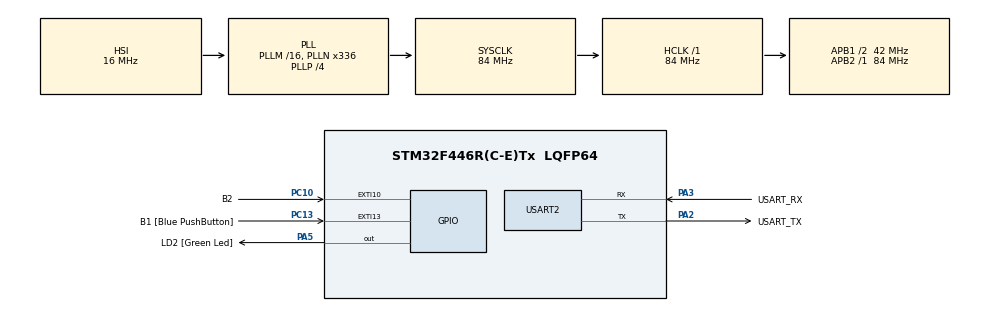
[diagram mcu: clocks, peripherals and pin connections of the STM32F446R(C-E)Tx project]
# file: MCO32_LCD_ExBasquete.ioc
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Mcu.Family=STM32F4
Mcu.Name=STM32F446R(C-E)Tx
Mcu.Package=LQFP64
NVIC.EXTI15_10_IRQn=true\:0\:0\:false\:false\:true\:true\:true\:true
NVIC.PriorityGroup=NVIC_PRIORITYGROUP_0
PA13.GPIO_Label=TMS
PA13.Mode=Serial_Wire
PA13.Signal=SYS_JTMS-SWDIO
PA14.GPIO_Label=TCK
PA14.Mode=Serial_Wire
PA14.Signal=SYS_JTCK-SWCLK
PA2.GPIO_Label=USART_TX
PA2.Mode=Asynchronous
PA2.Signal=USART2_TX
PA3.GPIO_Label=USART_RX
PA3.Mode=Asynchronous
PA3.Signal=USART2_RX
PA5.GPIO_Label=LD2 [Green Led]
PA5.Signal=GPIO_Output
PB3.GPIO_Label=SWO
PB3.Signal=SYS_JTDO-SWO
PC10.GPIO_Label=B2
PC10.GPIO_PuPd=GPIO_PULLUP
PC10.Signal=GPXTI10
PC13.GPIO_Label=B1 [Blue PushButton]
PC13.GPIO_ModeDefaultEXTI=GPIO_MODE_IT_FALLING
PC13.Signal=GPXTI13
PC14-OSC32_IN.Mode=LSE-External-Oscillator
PC14-OSC32_IN.Signal=RCC_OSC32_IN
PC15-OSC32_OUT.Mode=LSE-External-Oscillator
PC15-OSC32_OUT.Signal=RCC_OSC32_OUT
PH0-OSC_IN.Mode=HSE-External-Oscillator
PH0-OSC_IN.Signal=RCC_OSC_IN
PH1-OSC_OUT.Mode=HSE-External-Oscillator
PH1-OSC_OUT.Signal=RCC_OSC_OUT
ProjectManager.HeapSize=0x200
ProjectManager.StackSize=0x400
ProjectManager.TargetToolchain=STM32CubeIDE
RCC.48MHZClocksFreq_Value=84000000
RCC.AHBFreq_Value=84000000
RCC.APB1CLKDivider=RCC_HCLK_DIV2
RCC.APB1Freq_Value=42000000
RCC.APB1TimFreq_Value=84000000
RCC.APB2Freq_Value=84000000
RCC.APB2TimFreq_Value=84000000
RCC.CortexFreq_Value=84000000
RCC.FLatency-AdvancedSettings=FLASH_LATENCY_2
RCC.HCLKFreq_Value=84000000
RCC.HSE_VALUE=8000000
RCC.HSI_VALUE=16000000
RCC.PLLN=336
RCC.PLLP=RCC_PLLP_DIV4
RCC.SYSCLKFreq_VALUE=84000000
RCC.SYSCLKSource=RCC_SYSCLKSOURCE_PLLCLK
RCC.USBFreq_Value=168000000
RCC.VCOOutputFreq_Value=336000000
TIM1.AutoReloadPreload=TIM_AUTORELOAD_PRELOAD_ENABLE
TIM1.Period=0xFFFF-1
TIM1.Prescaler=84-1
USART2.VirtualMode=VM_ASYNC
VP_TIM1_VS_ClockSourceINT.Mode=Internal
board=NUCLEO-F446RE

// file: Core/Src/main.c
/* USER CODE BEGIN Header */
/**
  ******************************************************************************
  * @file           : main.c
  * @brief          : Main program body
  ******************************************************************************
  * @attention
  *
  * Copyright (c) 2022 STMicroelectronics.
  * All rights reserved.
  *
  * This software is licensed under terms that can be found in the LICENSE file
  * in the root directory of this software component.
  * If no LICENSE file comes with this software, it is provided AS-IS.
  *
  ******************************************************************************
  */
/* USER CODE END Header */
#include "main.h"

/* USER CODE BEGIN Includes */
#include "fonts.h"
#include "tft.h"
#include "user_setting.h"
#include "functions.h"
#include "stdio.h"
#include <math.h>
/* USER CODE END Includes */

/* USER CODE BEGIN PD */
#define SCREEN_ORIENTATION 1 //0: Retrato | 1: Paisagem
#define SCREEN_BG BLACK //Cor de fundo

/* Mais cores (em RGB 565) */
#define GREY 0xC618
#define ORANGE 0xF9E0
#define PURPLE 0x68FF

/* USER CODE END PD */

TIM_HandleTypeDef htim1;

UART_HandleTypeDef huart2;

void SystemClock_Config(void);
static void MX_GPIO_Init(void);
static void MX_USART2_UART_Init(void);
static void MX_TIM1_Init(void);
/* USER CODE BEGIN PFP */
void setScreenSettings(void);
void drawScenery(void);
/* USER CODE END PFP */

/* USER CODE BEGIN 0 */
uint8_t b2Flag = 0;
uint32_t deb = 0;
uint32_t dbgx = 0, dbgy = 0;
/* USER CODE END 0 */

int main(void)
{

  /* MCU Configuration--------------------------------------------------------*/

  /* Reset of all peripherals, Initializes the Flash interface and the Systick. */
  HAL_Init();

  /* Configure the system clock */
  SystemClock_Config();

  /* Initialize all configured peripherals */
  MX_GPIO_Init();
  MX_USART2_UART_Init();
  MX_TIM1_Init();
  /* USER CODE BEGIN 2 */
  setScreenSettings();

  //Ângulos: 0, 15, 30, 45, 60, 75, 90
  int16_t angles[7][2] = {{250, 230}, {252, 216}, {257, 203}, {266, 191}, {278, 182}, {291, 177}, {305, 175}};
  uint8_t st = 0; //Etapa
  int16_t xball = 305, yball = 220; //Posição da bola
  int16_t spd = 0, ang = 0, xspd = 0, yspd = 0; //Parâmetros
  char cspd[50]; //String para debug

  /* USER CODE END 2 */

  /* Infinite loop */
  /* USER CODE BEGIN WHILE */
  while (1)
  {
	  switch(st)
	  {
	  	  case 0: //Início
	  		  drawScenery(); //Desenha o cenário
	  		  xball = 305;
	  		  yball = 220;
	  		  fillCircle(xball, yball, 10, ORANGE); //Desenha bola no canto
	  		  st = 1;
	  		  break;

	  	  case 1: //Selecionar ângulo (0 a 90 graus)
	  		  ang = -15;
	  		  for(uint16_t i = 0; i < 7; i++)
	  		  {
	  			  ang += 15;
	  			  drawLine(305, 230, angles[i][0], angles[i][1], RED); //Desenha
	  			  HAL_Delay(250);
	  			  drawLine(305, 230, angles[i][0], angles[i][1], SCREEN_BG); //Apaga

	  			  if(b2Flag) //Se o botão for pressionado
	  			  {
	  				  drawLine(305, 230, angles[i][0], angles[i][1], RED); //Re-desenha
	  				  i = 8; //Sai do loop
	  				  st = 2;
	  				  b2Flag = 0;
	  				  sprintf(cspd, "ang = %d\r\n", ang);
	  				  HAL_UART_Transmit(&huart2, (uint8_t *)&cspd, 10, 100);
	  			  }
	  		  }
	  		  break;

	  	  case 2: //Selecionar velocidade de arremeço (0 a 140)
	  		  spd = -1;
	  		  fillRect(20, 17, 280, 11, SCREEN_BG); //Apaga toda a barra

	  		  for(uint16_t i = 0; i < 140; i++) //barra com 280px = 140 intensidades possíveis
	  		  {
	  			  spd++;
	  			  fillRect(20+(2*spd), 17, 2, 11, YELLOW); //Desenha
	  			  HAL_Delay(50);

	  			  if(b2Flag) //Se o botão for pressionado
	  			  {
	  				  i = 280; //Sai do loop
	  				  st = 3;
	  				  b2Flag = 0;
	  				  sprintf(cspd, "spd = %d\r\n", spd);
	  				  HAL_UART_Transmit(&huart2, (uint8_t *)&cspd, 10, 100);
	  			  }
	  		  }
	  		  break;

	  	  case 3: //Decompõe a velocidade em x e y de acordo com o ângulo
	  		  xspd = (int16_t)(cos((ang*M_PI)/180)*(spd));
	  		  yspd = (int16_t)(sin((ang*M_PI)/180)*(spd));

	  		  dbgx = xspd;
	  		  dbgy = yspd;

	  		  st = 4;

	  		  break;

	  	  case 4: //Movimenta bola

	  		  while(xball < 319 && yball < 239)
	  		  {
	  			  fillCircle(xball, yball, 10, SCREEN_BG); //Apaga
	  			  xball -= xspd;
	  			  yball -= yspd;
	  			  fillCircle(xball, yball, 10, ORANGE); //Desenha
	  			  HAL_Delay(100);
	  			  yspd -= 5; //"gravidade"
	  		  }
	  		  fillCircle(xball, yball, 10, SCREEN_BG); //Apaga
	  		  st = 0;
	  		  break;
	  }

    /* USER CODE END WHILE */

  }
}

void SystemClock_Config(void)
{
  RCC_OscInitTypeDef RCC_OscInitStruct = {0};
  RCC_ClkInitTypeDef RCC_ClkInitStruct = {0};

  /** Configure the main internal regulator output voltage
  */
  __HAL_RCC_PWR_CLK_ENABLE();
  __HAL_PWR_VOLTAGESCALING_CONFIG(PWR_REGULATOR_VOLTAGE_SCALE3);

  /** Initializes the RCC Oscillators according to the specified parameters
  * in the RCC_OscInitTypeDef structure.
  */
  RCC_OscInitStruct.OscillatorType = RCC_OSCILLATORTYPE_HSI;
  RCC_OscInitStruct.HSIState = RCC_HSI_ON;
  RCC_OscInitStruct.HSICalibrationValue = RCC_HSICALIBRATION_DEFAULT;
  RCC_OscInitStruct.PLL.PLLState = RCC_PLL_ON;
  RCC_OscInitStruct.PLL.PLLSource = RCC_PLLSOURCE_HSI;
  RCC_OscInitStruct.PLL.PLLM = 16;
  RCC_OscInitStruct.PLL.PLLN = 336;
  RCC_OscInitStruct.PLL.PLLP = RCC_PLLP_DIV4;
  RCC_OscInitStruct.PLL.PLLQ = 2;
  RCC_OscInitStruct.PLL.PLLR = 2;
  if (HAL_RCC_OscConfig(&RCC_OscInitStruct) != HAL_OK)
  {
    Error_Handler();
  }

  /** Initializes the CPU, AHB and APB buses clocks
  */
  RCC_ClkInitStruct.ClockType = RCC_CLOCKTYPE_HCLK|RCC_CLOCKTYPE_SYSCLK
                              |RCC_CLOCKTYPE_PCLK1|RCC_CLOCKTYPE_PCLK2;
  RCC_ClkInitStruct.SYSCLKSource = RCC_SYSCLKSOURCE_PLLCLK;
  RCC_ClkInitStruct.AHBCLKDivider = RCC_SYSCLK_DIV1;
  RCC_ClkInitStruct.APB1CLKDivider = RCC_HCLK_DIV2;
  RCC_ClkInitStruct.APB2CLKDivider = RCC_HCLK_DIV1;

  if (HAL_RCC_ClockConfig(&RCC_ClkInitStruct, FLASH_LATENCY_2) != HAL_OK)
  {
    Error_Handler();
  }
}

static void MX_TIM1_Init(void)
{

  TIM_ClockConfigTypeDef sClockSourceConfig = {0};
  TIM_MasterConfigTypeDef sMasterConfig = {0};

  htim1.Instance = TIM1;
  htim1.Init.Prescaler = 84-1;
  htim1.Init.CounterMode = TIM_COUNTERMODE_UP;
  htim1.Init.Period = 0xFFFF-1;
  htim1.Init.ClockDivision = TIM_CLOCKDIVISION_DIV1;
  htim1.Init.RepetitionCounter = 0;
  htim1.Init.AutoReloadPreload = TIM_AUTORELOAD_PRELOAD_ENABLE;
  if (HAL_TIM_Base_Init(&htim1) != HAL_OK)
  {
    Error_Handler();
  }
  sClockSourceConfig.ClockSource = TIM_CLOCKSOURCE_INTERNAL;
  if (HAL_TIM_ConfigClockSource(&htim1, &sClockSourceConfig) != HAL_OK)
  {
    Error_Handler();
  }
  sMasterConfig.MasterOutputTrigger = TIM_TRGO_RESET;
  sMasterConfig.MasterSlaveMode = TIM_MASTERSLAVEMODE_DISABLE;
  if (HAL_TIMEx_MasterConfigSynchronization(&htim1, &sMasterConfig) != HAL_OK)
  {
    Error_Handler();
  }

}

static void MX_USART2_UART_Init(void)
{

  huart2.Instance = USART2;
  huart2.Init.BaudRate = 115200;
  huart2.Init.WordLength = UART_WORDLENGTH_8B;
  huart2.Init.StopBits = UART_STOPBITS_1;
  huart2.Init.Parity = UART_PARITY_NONE;
  huart2.Init.Mode = UART_MODE_TX_RX;
  huart2.Init.HwFlowCtl = UART_HWCONTROL_NONE;
  huart2.Init.OverSampling = UART_OVERSAMPLING_16;
  if (HAL_UART_Init(&huart2) != HAL_OK)
  {
    Error_Handler();
  }

}

static void MX_GPIO_Init(void)
{
  GPIO_InitTypeDef GPIO_InitStruct = {0};

  /* GPIO Ports Clock Enable */
  __HAL_RCC_GPIOC_CLK_ENABLE();
  __HAL_RCC_GPIOH_CLK_ENABLE();
  __HAL_RCC_GPIOA_CLK_ENABLE();
  __HAL_RCC_GPIOB_CLK_ENABLE();

  /*Configure GPIO pin Output Level */
  HAL_GPIO_WritePin(LD2_GPIO_Port, LD2_Pin, GPIO_PIN_RESET);

  /*Configure GPIO pin : B1_Pin */
  GPIO_InitStruct.Pin = B1_Pin;
  GPIO_InitStruct.Mode = GPIO_MODE_IT_FALLING;
  GPIO_InitStruct.Pull = GPIO_NOPULL;
  HAL_GPIO_Init(B1_GPIO_Port, &GPIO_InitStruct);

  /*Configure GPIO pin : LD2_Pin */
  GPIO_InitStruct.Pin = LD2_Pin;
  GPIO_InitStruct.Mode = GPIO_MODE_OUTPUT_PP;
  GPIO_InitStruct.Pull = GPIO_NOPULL;
  GPIO_InitStruct.Speed = GPIO_SPEED_FREQ_LOW;
  HAL_GPIO_Init(LD2_GPIO_Port, &GPIO_InitStruct);

  /*Configure GPIO pin : B2_Pin */
  GPIO_InitStruct.Pin = B2_Pin;
  GPIO_InitStruct.Mode = GPIO_MODE_IT_RISING;
  GPIO_InitStruct.Pull = GPIO_PULLUP;
  HAL_GPIO_Init(B2_GPIO_Port, &GPIO_InitStruct);

  /* EXTI interrupt init*/
  HAL_NVIC_SetPriority(EXTI15_10_IRQn, 0, 0);
  HAL_NVIC_EnableIRQ(EXTI15_10_IRQn);

}

/* USER CODE BEGIN 4 */

/**
 * @brief Configura o LCD
 */
void setScreenSettings(void)
{
	tft_gpio_init(); //Inicializa os GPIOs do LCD (evita uso do CubeMX)
	HAL_TIM_Base_Start(&htim1); //Inicializa o Timer1 (base de tempo de us do LCD)
	uint16_t ID = tft_readID(); //Lê o ID do LCD (poderia ser chamada pela inicialização do LCD)
	HAL_Delay(100);
	tft_init(ID); //Inicializa o LCD de acordo com seu ID
	setRotation(SCREEN_ORIENTATION); //Ajusta a orientação da tela (paisagem)
	fillScreen(SCREEN_BG);
}

/**
 * @brief Sobrescreve função de Callback da interrupção de GPIO
 */
void HAL_GPIO_EXTI_Callback(uint16_t GPIO_Pin)
{
	if(GPIO_Pin == B2_Pin && HAL_GetTick() > deb+50)
	{
		b2Flag = 1;
		deb = HAL_GetTick();
	}
}

/**
 * @brief Desenha o cenário
 */
void drawScenery(void)
{
	fillScreen(SCREEN_BG);
	drawLine(15, 105, 15, 230, WHITE); //Poste
	drawLine(15, 105, 25, 80, WHITE); //Diagonal
	drawLine(25, 60, 25, 125, WHITE); //Quadro
	drawLine(30, 80, 30, 115, WHITE); //L vertical
	drawLine(30, 115, 65, 115, WHITE); //L horizontal
	drawLine(33, 115, 37, 140, GREY); //Cesta '\'
	drawLine(62, 115, 57, 140, GREY); //Cesta '/'
	drawLine(37, 140, 57, 140, GREY); //Cesta _
	drawRect(15, 15, 290, 15, WHITE); //Barra x
}

/* USER CODE END 4 */

void Error_Handler(void)
{
  __disable_irq();
  while (1)
  {
  }
}
